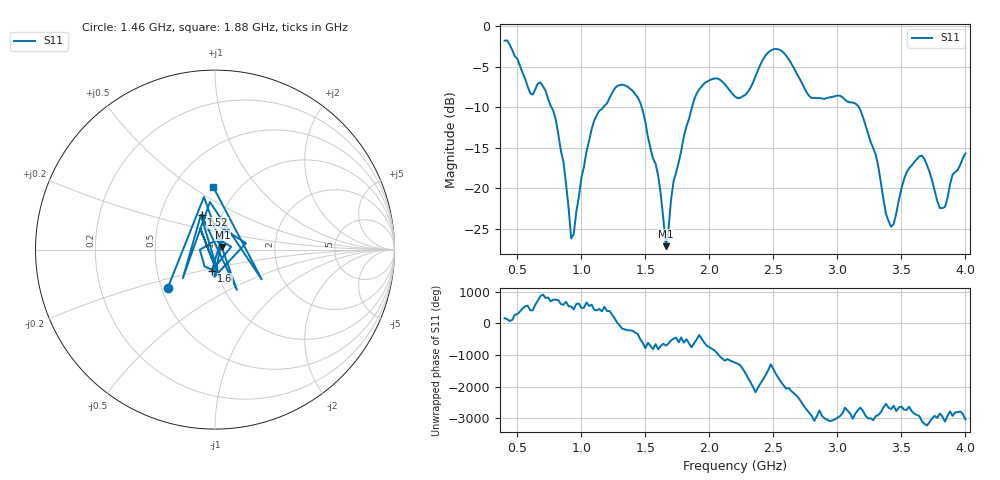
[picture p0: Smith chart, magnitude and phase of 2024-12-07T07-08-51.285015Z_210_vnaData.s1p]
!Created with skrf (http://scikit-rf.org).
# Hz S RI R 50.0
!freq ReS11 ImS11
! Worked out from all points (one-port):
!   181 points, 400 MHz to 4 GHz, reference 50 ohm
!   lowest |S11| = -27.2 dB at 1.66 GHz (marker M1), VSWR 1.09, Z = 54.3 + j1.59 ohm
!   |S11| at or under -10 dB: 765.9 MHz to 1.171 GHz (404.9 MHz wide, 41.8 % of centre); 1.471 GHz to 1.864 GHz (392.8 MHz wide, 23.6 % of centre); 3.167 GHz to end of sweep
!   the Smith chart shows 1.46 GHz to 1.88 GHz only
!   S11 on the Smith chart (normalised r, x): 1.46 GHz: 0.54, -0.26; 1.52 GHz: 0.80, +0.32; 1.6 GHz: 0.94, -0.22; 1.88 GHz: 0.77, +0.61
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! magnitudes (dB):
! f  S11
! 400 MHz  -1.8
! 600 MHz  -8.3
! 720 MHz  -7.9
! 860 MHz  -16.8
! 920 MHz  -26.2
! 1.1 GHz  -11.6
! 1.3 GHz  -7.3
! 1.46 GHz  -9.4
! 1.52 GHz  -13.7
! 1.6 GHz  -18.5
! 1.66 GHz  -27.2
! 1.72 GHz  -19.1
! 1.76 GHz  -16.8
! 1.88 GHz  -9.1
! 2.04 GHz  -6.4
! 2.2 GHz  -8.7
! 2.3 GHz  -8.1
! 2.48 GHz  -3.0
! 2.66 GHz  -5.2
! 2.8 GHz  -8.8
! 3.1 GHz  -9.4
! 3.18 GHz  -10.4
! 3.3 GHz  -15.9
! 3.42 GHz  -24.8
! 3.56 GHz  -17.6
! 3.66 GHz  -16.0
! 3.82 GHz  -22.5
! 4 GHz  -15.7
